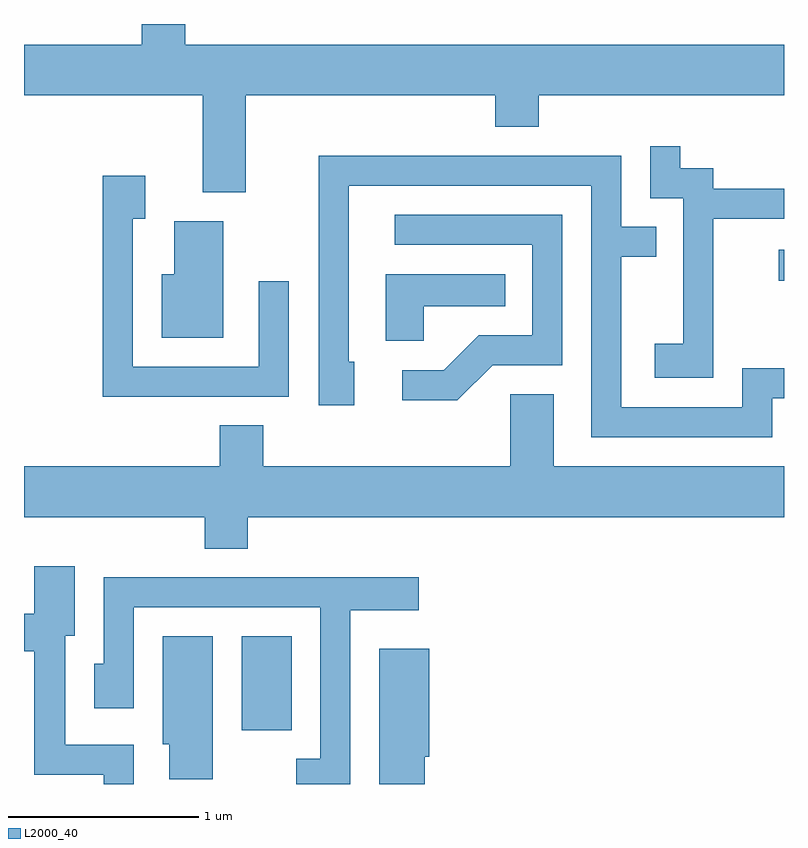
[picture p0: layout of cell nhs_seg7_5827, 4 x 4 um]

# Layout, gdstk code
import gdstk
lib = gdstk.Library(unit=1e-6, precision=1e-09)
def R(c, l, rs):  # rectangles x0, y0, x1, y1
    for r in rs: c.add(gdstk.rectangle(r[:2], r[2:], *l))
def P(c, l, *ps):  # polygons
    for p in ps: c.add(gdstk.Polygon(p, *l))
L2000_40 = (2000, 40)

nhs_seg7_5827 = lib.new_cell('nhs_seg7_5827')
R(nhs_seg7_5827, L2000_40, [(364.756,1706.536,365.019,1707.029), (367.583,1708.901,367.611,1709.064)])
P(nhs_seg7_5827, L2000_40, [(364.779,1709.876),(366.091,1709.876),(366.091,1709.711),(366.319,1709.711),(366.319,1709.876),(367.611,1709.876),(367.611,1710.144),(364.459,1710.144),(364.459,1710.252),(364.231,1710.252),(364.231,1710.144),(363.611,1710.144),(363.611,1709.876),(364.551,1709.876),(364.551,1709.366),(364.779,1709.366)],
  [(367.239,1709.226),(367.611,1709.226),(367.611,1709.384),(367.239,1709.384),(367.239,1709.494),(367.064,1709.494),(367.064,1709.608),(366.906,1709.608),(366.906,1709.336),(367.081,1709.336),(367.081,1708.569),(366.931,1708.569),(366.931,1708.391),(367.239,1708.391)],
  [(367.549,1708.281),(367.611,1708.281),(367.611,1708.439),(367.391,1708.439),(367.391,1708.234),(366.754,1708.234),(366.754,1709.026),(366.938,1709.026),(366.938,1709.184),(366.754,1709.184),(366.754,1709.559),(365.161,1709.559),(365.161,1708.246),(365.349,1708.246),(365.349,1708.474),(365.319,1708.474),(365.319,1709.401),(366.596,1709.401),(366.596,1708.076),(367.549,1708.076)],
  [(365.004,1708.898),(364.846,1708.898),(364.846,1708.449),(364.184,1708.449),(364.184,1709.226),(364.249,1709.226),(364.249,1709.454),(364.026,1709.454),(364.026,1708.291),(365.004,1708.291)],
  [(366.077,1708.456),(366.444,1708.456),(366.444,1709.249),(365.563,1709.249),(365.563,1709.091),(366.286,1709.091),(366.286,1708.614),(366.004,1708.614),(365.819,1708.429),(365.603,1708.429),(365.603,1708.271),(365.892,1708.271)],
  [(364.659,1709.214),(364.401,1709.214),(364.401,1708.934),(364.336,1708.934),(364.336,1708.601),(364.659,1708.601)],
  [(365.714,1708.766),(366.143,1708.766),(366.143,1708.934),(365.516,1708.934),(365.516,1708.586),(365.714,1708.586)],
  [(364.789,1707.656),(367.611,1707.656),(367.611,1707.924),(366.399,1707.924),(366.399,1708.304),(366.171,1708.304),(366.171,1707.924),(364.869,1707.924),(364.869,1708.139),(364.641,1708.139),(364.641,1707.924),(363.611,1707.924),(363.611,1707.656),(364.561,1707.656),(364.561,1707.491),(364.789,1707.491)],
  [(364.189,1706.459),(363.829,1706.459),(363.829,1707.031),(363.879,1707.031),(363.879,1707.399),(363.666,1707.399),(363.666,1707.149),(363.611,1707.149),(363.611,1706.951),(363.666,1706.951),(363.666,1706.301),(364.031,1706.301),(364.031,1706.252),(364.189,1706.252)],
  [(365.329,1707.166),(365.689,1707.166),(365.689,1707.339),(364.031,1707.339),(364.031,1706.884),(363.981,1706.884),(363.981,1706.651),(364.189,1706.651),(364.189,1707.181),(365.171,1707.181),(365.171,1706.384),(365.043,1706.384),(365.043,1706.252),(365.329,1706.252)],
  [(364.604,1707.029),(364.341,1707.029),(364.341,1706.461),(364.376,1706.461),(364.376,1706.276),(364.604,1706.276)],
  [(365.719,1706.396),(365.744,1706.396),(365.744,1706.964),(365.481,1706.964),(365.481,1706.252),(365.719,1706.252)])

lib.write_gds('nhs_seg7_5827.gds')
